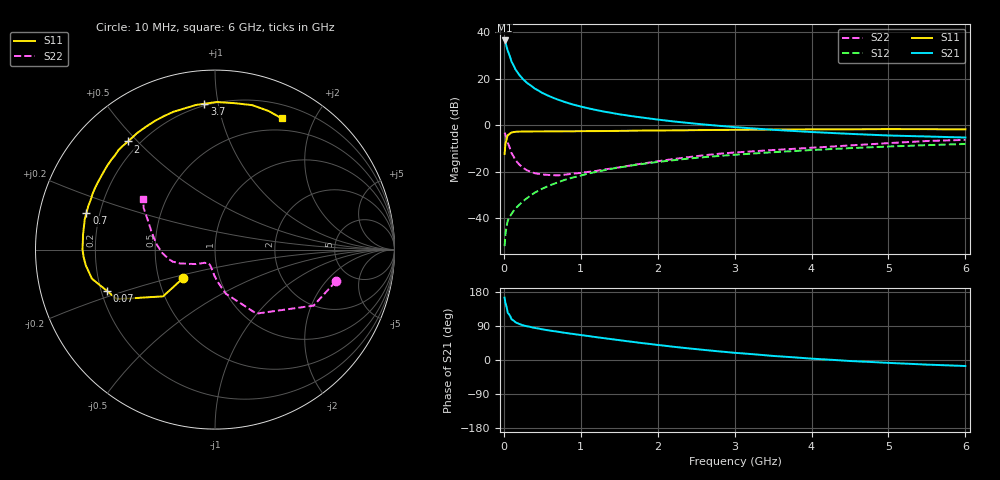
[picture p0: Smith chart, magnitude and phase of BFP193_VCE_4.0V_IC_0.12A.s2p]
! Infineon Technologies  Discrete & RF Semiconductors
! BFP193
! VCE =  4.0 V,  IC = 0.12 A
! Common Emitter S-Parameters:  Jan 2017
# GHz  S  MA  R  50
!  f  S11  S21  S12  S22
! GHz  MAG  ANG  MAG  ANG  MAG  ANG  MAG  ANG
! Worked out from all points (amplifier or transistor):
!   77 points, 10 MHz to 6 GHz, reference 50 ohm
!   highest |S21| = 36.6 dB at 10 MHz (marker M1)
!   |S21| within 3 dB of that: start of sweep to 38.14 MHz
!   unconditionally stable (mu >= 1): start of sweep to 16.14 MHz; 179.4 MHz to 3.341 GHz; 5.74 GHz to end of sweep
!   at 130 MHz: K = 0.89, MSG = 31.2 dB, |S12| = -36.7 dB
!   at 2.2 GHz: K = 1.06, MAG = 6.9 dB, |S12| = -15.0 dB
!   at 6 GHz: K = 1.01, MAG = 0.9 dB, |S12| = -8.0 dB
!   S11 on the Smith chart (normalised r, x): 10 MHz: 0.66, -0.23; 70 MHz: 0.22, -0.18; 700 MHz: 0.15, +0.14; 2 GHz: 0.16, +0.47; 3.7 GHz: 0.19, +0.91; 6 GHz: 0.35, +1.57
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0.01  0.2415 -138.2  67.37 164.4  0.0025 72.0  0.6962 -14.7
0.02  0.3897 -138.0  61.67 150.8  0.0044 70.2  0.632 -29.6
0.05  0.6117 -153.2  40.65 124.6  0.0088 58.6  0.4248 -57.1
0.07  0.6445 -159.1  33.49 119.8  0.0102 59.0  0.3519 -62.5
0.1  0.7047 -166.7  23.51 107.4  0.0123 59.4  0.2527 -76.3
0.15  0.7255 -173.1  16.15 99.8  0.0161 62.0  0.1797 -85.4
0.2  0.7334 -176.9  12.25 95.1  0.0194 66.2  0.1435 -91.7
0.25  0.7382 -180.0  9.865 91.5  0.0233 68.0  0.122 -95.7
0.3  0.7375 177.5  8.236 89.0  0.027 69.7  0.1074 -99.9
0.4  0.74 173.6  6.225 84.6  0.0353 71.7  0.0934 -106.0
0.5  0.7414 170.0  4.99 80.9  0.0433 72.3  0.0874 -111.0
0.7  0.7446 164.2  3.593 74.7  0.0591 72.4  0.0837 -119.4
0.9  0.7458 158.3  2.807 68.7  0.0753 71.1  0.0914 -125.3
1.1  0.7514 152.7  2.323 63.2  0.092 69.0  0.0996 -131.2
1.5  0.7611 142.0  1.735 52.4  0.1237 64.5  0.1246 -141.6
2  0.7734 128.8  1.332 39.7  0.1627 58.0  0.1684 -151.4
2.1  0.7764 126.2  1.274 37.5  0.1698 56.6  0.1779 -153.6
3.1  0.8026 104.8  0.893 17.5  0.2384 43.3  0.2669 -169.7
3.7  0.8146 94.2  0.768 8.0  0.2754 36.0  0.3074 179.7
4.1  0.8214 87.9  0.706 2.4  0.2995 31.0  0.3368 171.8
5.1  0.8296 74.2  0.599 -8.5  0.3546 18.7  0.4229 154.3
6  0.8203 63.1  0.547 -15.9  0.397 8.1  0.4871 144.9
